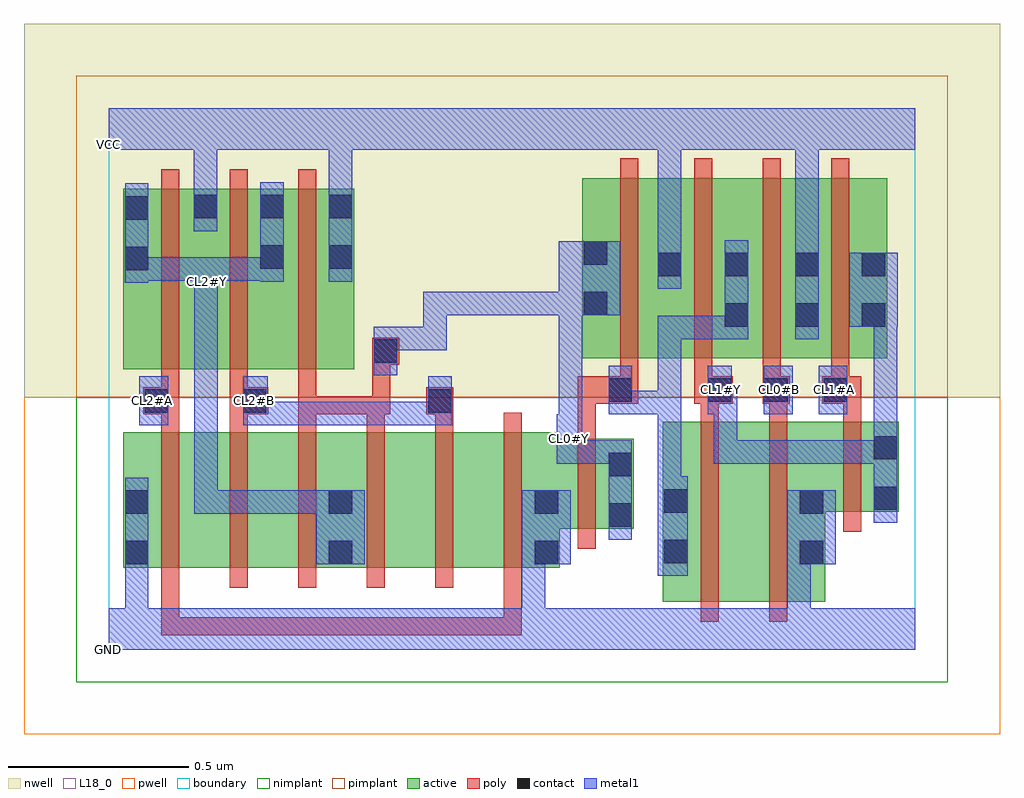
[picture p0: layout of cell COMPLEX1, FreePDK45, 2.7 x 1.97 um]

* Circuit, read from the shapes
.subckt COMPLEX1 CL0#B CL0#Y CL1#A CL1#Y CL2#A CL2#B CL2#Y GND VCC
M1 n1 CL2#A GND VSUBS nfet w=0.375u l=0.05u
M2 n2 CL2#B n1 VSUBS nfet w=0.375u l=0.05u
M3 CL2#Y CL0#Y n2 VSUBS nfet w=0.375u l=0.05u
M4 n3 CL0#Y CL2#Y VSUBS nfet w=0.375u l=0.05u
M5 n4 CL2#B n3 VSUBS nfet w=0.375u l=0.05u
M6 GND CL2#A n4 VSUBS nfet w=0.375u l=0.05u
M7 CL0#Y n5 GND VSUBS nfet w=0.25u l=0.05u
M8 n6 CL1#Y n5 VSUBS nfet w=0.5u l=0.05u
M9 GND CL0#B n6 VSUBS nfet w=0.5u l=0.05u
M10 CL1#Y CL1#A GND VSUBS nfet w=0.25u l=0.05u
M11 VCC CL2#A CL2#Y n7 pfet w=0.5u l=0.05u
M12 CL2#Y CL2#B VCC n7 pfet w=0.5u l=0.05u
M13 VCC CL0#Y CL2#Y n7 pfet w=0.5u l=0.05u
M14 VCC n5 CL0#Y n7 pfet w=0.5u l=0.05u
M15 n5 CL1#Y VCC n7 pfet w=0.5u l=0.05u
M16 VCC CL0#B n5 n7 pfet w=0.5u l=0.05u
M17 CL1#Y CL1#A VCC n7 pfet w=0.5u l=0.05u
.ends

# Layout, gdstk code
import gdstk
lib = gdstk.Library(unit=1e-6, precision=1e-09)
def R(c, l, rs):  # rectangles x0, y0, x1, y1
    for r in rs: c.add(gdstk.rectangle(r[:2], r[2:], *l))
def A(c, l, x, y, w, h, nx, ny, dx, dy):  # array of equal rectangles
    R(c, l, [(x+i*dx, y+j*dy, x+i*dx+w, y+j*dy+h) for i in range(nx) for j in range(ny)])
active = (1, 0)
pwell = (2, 0)
nwell = (3, 0)
nimplant = (4, 0)
pimplant = (5, 0)
poly = (9, 0)
contact = (10, 0)
metal1 = (11, 0)
L18_0 = (18, 0)
boundary = (235, 0)

complex1 = lib.new_cell('COMPLEX1')
R(complex1, active, [(1.535,0.132,1.76,0.632), (1.76,0.132,1.985,0.632), (1.91,0.132,1.985,0.562), (1.535,0.145,1.64,0.632), (0.04,0.227,0.265,0.602), (0.04,0.227,0.115,0.602), (0.265,0.227,0.455,0.602), (0.455,0.227,0.68,0.602), (0.605,0.227,0.835,0.602), (0.605,0.227,0.68,0.602), (0.835,0.227,1.025,0.602), (1.025,0.227,1.25,0.602), (1.175,0.232,1.25,0.585), (1.175,0.335,1.455,0.585), (1.38,0.335,1.455,0.585), (1.91,0.382,2.19,0.632), (2.115,0.382,2.19,0.632), (0.04,0.777,0.305,1.277), (0.04,0.777,0.115,1.267), (0.23,0.777,0.49,1.277), (0.415,0.777,0.68,1.277), (0.605,0.777,0.68,1.265), (1.312,0.807,1.592,1.307), (1.312,0.807,1.387,1.255), (1.517,0.807,1.777,1.307), (1.702,0.807,1.777,1.267), (1.702,0.807,1.972,1.307), (1.897,0.807,1.972,1.267), (1.897,0.807,2.157,1.307), (2.082,0.807,2.157,1.267), (0.23,0.902,0.305,1.267), (1.517,0.902,1.592,1.255), (0.415,0.907,0.49,1.277)])
R(complex1, pwell, [(-0.235,-0.235,2.47,0.7)])
R(complex1, nwell, [(-0.235,0.7,2.47,1.735)])
R(complex1, nimplant, [(-0.09,-0.09,2.325,0.7)])
R(complex1, pimplant, [(-0.09,0.7,2.325,1.59)])
A(complex1, poly, 0.145, 0.172, 0.05, 0.485, 6, 1, 0.19, 0)
A(complex1, poly, 0.145, 0.607, 0.05, 0.095, 5, 1, 0.19, 0)
A(complex1, poly, 1.622, 0.707, 0.05, 0.095, 3, 1, 0.19, 0)
A(complex1, poly, 0.145, 0.722, 0.05, 0.61, 3, 1, 0.19, 0)
A(complex1, poly, 1.622, 0.752, 0.05, 0.61, 3, 1, 0.19, 0)
R(complex1, poly, [(0.145,0.04,0.195,0.222), (0.145,0.04,0.195,0.09), (0.145,0.04,0.195,0.09), (0.145,0.04,0.195,0.09), (0.145,0.04,0.442,0.09), (0.392,0.04,0.442,0.09), (0.392,0.04,0.442,0.09), (0.392,0.04,0.442,0.09), (0.392,0.04,0.575,0.09), (0.525,0.04,0.575,0.09), (0.525,0.04,0.797,0.09), (0.747,0.04,0.797,0.09), (0.747,0.04,0.797,0.09), (0.747,0.04,0.797,0.09), (0.747,0.04,1.012,0.09), (0.962,0.04,1.012,0.09), (0.962,0.04,1.012,0.09), (0.962,0.04,1.012,0.09), (0.962,0.04,1.145,0.09), (1.095,0.04,1.145,0.222), (1.095,0.04,1.145,0.09), (1.095,0.04,1.145,0.09), (1.095,0.04,1.145,0.09), (1.64,0.077,1.69,0.687), (1.83,0.077,1.88,0.687), (1.3,0.28,1.35,0.64), (2.035,0.327,2.085,0.687), (1.3,0.59,1.35,0.732), (1.64,0.637,1.69,0.732), (1.83,0.637,1.88,0.732), (2.035,0.637,2.085,0.732), (0.095,0.652,0.195,0.727), (0.335,0.652,0.442,0.727), (0.525,0.652,0.575,0.702), (0.525,0.652,0.575,0.702), (0.525,0.652,0.575,0.702), (0.525,0.652,0.765,0.702), (0.525,0.652,0.575,0.772), (0.715,0.652,0.78,0.702), (0.73,0.652,0.78,0.702), (0.73,0.652,0.78,0.702), (0.73,0.652,0.78,0.84), (0.88,0.652,0.955,0.727), (0.145,0.677,0.195,0.772), (0.335,0.677,0.385,0.772), (1.3,0.682,1.467,0.757), (1.622,0.682,1.73,0.757), (1.812,0.682,1.887,0.757), (1.977,0.682,2.085,0.757), (1.417,0.707,1.467,0.802), (1.417,0.752,1.467,1.362), (0.73,0.79,0.805,0.865)])
R(complex1, contact, [(0.045,0.237,0.11,0.302), (0.61,0.237,0.675,0.302), (1.18,0.237,1.245,0.302), (1.915,0.237,1.98,0.302), (1.54,0.24,1.605,0.305), (1.385,0.34,1.45,0.405), (0.045,0.377,0.11,0.442), (0.61,0.377,0.675,0.442), (1.18,0.377,1.245,0.442), (1.915,0.377,1.98,0.442), (1.54,0.38,1.605,0.445), (2.12,0.387,2.185,0.452), (1.385,0.48,1.45,0.545), (2.12,0.527,2.185,0.592), (0.1,0.657,0.165,0.722), (0.372,0.657,0.437,0.722), (0.885,0.657,0.95,0.722), (1.385,0.687,1.45,0.752), (1.66,0.687,1.725,0.752), (1.817,0.687,1.882,0.752), (1.982,0.687,2.047,0.752), (0.735,0.795,0.8,0.86), (1.707,0.895,1.772,0.96), (1.902,0.895,1.967,0.96), (2.087,0.895,2.152,0.96), (1.317,0.927,1.382,0.992), (1.522,1.035,1.587,1.1), (1.707,1.035,1.772,1.1), (1.902,1.035,1.967,1.1), (2.087,1.035,2.152,1.1), (0.045,1.052,0.11,1.117), (0.42,1.055,0.485,1.12), (0.61,1.055,0.675,1.12), (1.317,1.067,1.382,1.132), (0.045,1.192,0.11,1.257), (0.235,1.195,0.3,1.26), (0.42,1.195,0.485,1.26), (0.61,1.195,0.675,1.26)])
R(complex1, metal1, [(0,0,2.235,0.115), (0.045,0.05,0.11,0.115), (0.045,0.05,0.11,0.115), (0.045,0.05,0.11,0.115), (0.045,0.05,0.11,0.115), (0.045,0.05,0.11,0.267), (1.145,0.05,1.21,0.115), (1.145,0.05,1.21,0.115), (1.145,0.05,1.21,0.302), (1.88,0.05,1.945,0.115), (1.88,0.05,1.945,0.115), (1.88,0.05,1.945,0.302), (0.045,0.202,0.11,0.477), (1.522,0.205,1.605,0.48), (0.575,0.237,0.71,0.442), (1.145,0.237,1.28,0.442), (1.145,0.237,1.21,0.302), (1.145,0.237,1.21,0.302), (1.88,0.237,2.015,0.442), (1.385,0.305,1.45,0.58), (2.12,0.352,2.185,0.627), (0.237,0.377,0.302,0.442), (0.237,0.377,0.302,0.442), (0.237,0.377,0.302,0.442), (0.237,0.377,0.44,0.442), (0.237,0.377,0.302,1.017), (0.375,0.377,0.44,0.442), (0.375,0.377,0.64,0.442), (0.575,0.377,0.64,0.442), (0.575,0.377,0.64,0.442), (1.522,0.415,1.587,0.717), (1.242,0.515,1.312,0.652), (1.247,0.515,1.312,0.58), (1.247,0.515,1.312,0.58), (1.247,0.515,1.45,0.58), (1.385,0.515,1.45,0.58), (1.385,0.515,1.45,0.58), (1.677,0.515,1.742,0.58), (1.677,0.515,1.895,0.58), (1.677,0.515,1.742,0.717), (1.83,0.515,1.895,0.58), (1.83,0.515,1.895,0.58), (1.83,0.515,1.895,0.58), (1.83,0.515,2.185,0.58), (2.12,0.515,2.185,0.58), (2.12,0.515,2.185,0.58), (2.12,0.562,2.185,0.96), (2.12,0.562,2.185,0.627), (2.12,0.562,2.185,0.627), (1.247,0.587,1.312,0.992), (0.085,0.622,0.165,0.757), (0.372,0.622,0.44,0.757), (0.375,0.622,0.44,0.687), (0.375,0.622,0.44,0.687), (0.375,0.622,0.577,0.687), (0.512,0.622,0.577,0.687), (0.512,0.622,0.577,0.687), (0.512,0.622,0.577,0.687), (0.512,0.622,0.777,0.687), (0.712,0.622,0.777,0.687), (0.712,0.622,0.777,0.687), (0.712,0.622,0.777,0.687), (0.712,0.622,0.95,0.687), (0.885,0.622,0.95,0.757), (1.385,0.652,1.45,0.717), (1.385,0.652,1.45,0.717), (1.385,0.652,1.45,0.787), (1.385,0.652,1.587,0.717), (1.522,0.652,1.587,0.717), (1.522,0.652,1.587,0.925), (1.66,0.652,1.727,0.787), (1.662,0.652,1.742,0.717), (1.677,0.652,1.742,0.717), (1.815,0.652,1.895,0.787), (1.967,0.652,2.047,0.787), (0.735,0.76,0.8,0.895), (0.735,0.83,0.8,0.895), (0.735,0.83,0.8,0.895), (0.735,0.83,0.8,0.895), (0.735,0.83,0.8,0.895), (0.735,0.83,0.937,0.895), (0.872,0.83,0.937,0.992), (1.522,0.86,1.587,0.925), (1.522,0.86,1.587,0.925), (1.522,0.86,1.587,0.925), (1.522,0.86,1.772,0.925), (1.707,0.86,1.772,1.135), (1.902,0.86,1.967,1.135), (2.052,0.895,2.187,1.1), (0.872,0.927,0.937,0.992), (0.872,0.927,0.937,0.992), (0.872,0.927,1.312,0.992), (1.247,0.927,1.312,0.992), (1.247,0.927,1.312,0.992), (1.247,0.927,1.417,1.132), (0.237,0.952,0.302,1.087), (1.522,1,1.587,1.135), (0.045,1.017,0.11,1.292), (0.42,1.02,0.485,1.295), (0.61,1.02,0.675,1.295), (0.045,1.022,0.11,1.087), (0.045,1.022,0.11,1.087), (0.045,1.022,0.302,1.087), (0.237,1.022,0.302,1.087), (0.237,1.022,0.302,1.087), (0.237,1.022,0.302,1.087), (0.237,1.022,0.302,1.087), (0.237,1.022,0.485,1.087), (1.522,1.07,1.587,1.135), (1.522,1.07,1.587,1.135), (1.522,1.07,1.587,1.45), (1.902,1.07,1.967,1.135), (1.902,1.07,1.967,1.135), (1.902,1.07,1.967,1.45), (0.235,1.16,0.3,1.295), (0.235,1.23,0.3,1.45), (0.61,1.23,0.675,1.295), (0.61,1.23,0.675,1.295), (0.61,1.23,0.675,1.45), (0,1.385,2.235,1.5), (0.235,1.385,0.3,1.45), (0.235,1.385,0.3,1.45)])
R(complex1, L18_0, [(0,0,2.235,0.115), (0.045,0.05,0.11,0.115), (0.045,0.05,0.11,0.115), (0.045,0.05,0.11,0.115), (0.045,0.05,0.11,0.115), (0.045,0.05,0.11,0.267), (1.145,0.05,1.21,0.115), (1.145,0.05,1.21,0.115), (1.145,0.05,1.21,0.302), (1.88,0.05,1.945,0.115), (1.88,0.05,1.945,0.115), (1.88,0.05,1.945,0.302), (0.045,0.202,0.11,0.477), (0.575,0.237,0.71,0.442), (1.145,0.237,1.21,0.302), (1.145,0.237,1.21,0.302), (1.145,0.237,1.28,0.442), (1.88,0.237,2.015,0.442), (1.385,0.305,1.45,0.58), (2.12,0.352,2.185,0.627), (0.237,0.377,0.302,0.442), (0.237,0.377,0.302,0.442), (0.237,0.377,0.302,0.442), (0.237,0.377,0.302,1.017), (0.237,0.377,0.44,0.442), (0.375,0.377,0.44,0.442), (0.375,0.377,0.64,0.442), (0.575,0.377,0.64,0.442), (0.575,0.377,0.64,0.442), (1.242,0.515,1.312,0.652), (1.247,0.515,1.312,0.58), (1.247,0.515,1.312,0.58), (1.247,0.515,1.45,0.58), (1.385,0.515,1.45,0.58), (1.385,0.515,1.45,0.58), (1.677,0.515,1.742,0.58), (1.677,0.515,1.742,0.717), (1.677,0.515,1.895,0.58), (1.83,0.515,1.895,0.58), (1.83,0.515,1.895,0.58), (1.83,0.515,1.895,0.58), (1.83,0.515,2.185,0.58), (2.12,0.515,2.185,0.58), (2.12,0.515,2.185,0.58), (1.242,0.552,1.307,0.617), (2.12,0.562,2.185,0.627), (2.12,0.562,2.185,0.627), (2.12,0.562,2.185,0.96), (1.247,0.587,1.312,0.992), (0.085,0.622,0.165,0.757), (0.372,0.622,0.44,0.757), (0.375,0.622,0.44,0.687), (0.375,0.622,0.44,0.687), (0.375,0.622,0.577,0.687), (0.512,0.622,0.577,0.687), (0.512,0.622,0.577,0.687), (0.512,0.622,0.577,0.687), (0.512,0.622,0.777,0.687), (0.712,0.622,0.777,0.687), (0.712,0.622,0.777,0.687), (0.712,0.622,0.777,0.687), (0.712,0.622,0.95,0.687), (0.885,0.622,0.95,0.757), (1.66,0.652,1.727,0.787), (1.662,0.652,1.742,0.717), (1.677,0.652,1.742,0.717), (1.815,0.652,1.895,0.787), (1.967,0.652,2.047,0.787), (0.087,0.657,0.152,0.722), (0.372,0.657,0.437,0.722), (1.662,0.687,1.727,0.752), (1.827,0.687,1.892,0.752), (1.977,0.687,2.042,0.752), (0.735,0.76,0.8,0.895), (0.735,0.83,0.8,0.895), (0.735,0.83,0.8,0.895), (0.735,0.83,0.8,0.895), (0.735,0.83,0.8,0.895), (0.735,0.83,0.937,0.895), (0.872,0.83,0.937,0.992), (1.902,0.86,1.967,1.135), (2.052,0.895,2.187,1.1), (0.872,0.927,0.937,0.992), (0.872,0.927,0.937,0.992), (0.872,0.927,1.312,0.992), (1.247,0.927,1.312,0.992), (1.247,0.927,1.312,0.992), (1.247,0.927,1.417,1.132), (0.237,0.952,0.302,1.087), (0.237,0.987,0.302,1.052), (1.522,1,1.587,1.135), (0.045,1.017,0.11,1.292), (0.42,1.02,0.485,1.295), (0.61,1.02,0.675,1.295), (0.045,1.022,0.11,1.087), (0.045,1.022,0.11,1.087), (0.045,1.022,0.302,1.087), (0.237,1.022,0.302,1.087), (0.237,1.022,0.302,1.087), (0.237,1.022,0.302,1.087), (0.237,1.022,0.302,1.087), (0.237,1.022,0.485,1.087), (1.522,1.07,1.587,1.135), (1.522,1.07,1.587,1.135), (1.522,1.07,1.587,1.45), (1.902,1.07,1.967,1.135), (1.902,1.07,1.967,1.135), (1.902,1.07,1.967,1.45), (0.235,1.16,0.3,1.295), (0.235,1.23,0.3,1.45), (0.61,1.23,0.675,1.295), (0.61,1.23,0.675,1.295), (0.61,1.23,0.675,1.45), (0,1.385,2.235,1.5), (0.235,1.385,0.3,1.45), (0.235,1.385,0.3,1.45)])
R(complex1, boundary, [(0,0,2.235,1.5)])
complex1.add(gdstk.Label('CL0#B', (1.86,0.72), layer=11, texttype=0))
complex1.add(gdstk.Label('CL0#Y', (1.275,0.585), layer=11, texttype=0))
complex1.add(gdstk.Label('CL1#A', (2.01,0.72), layer=11, texttype=0))
complex1.add(gdstk.Label('CL1#Y', (1.695,0.72), layer=11, texttype=0))
complex1.add(gdstk.Label('CL2#A', (0.12,0.69), layer=11, texttype=0))
complex1.add(gdstk.Label('CL2#B', (0.405,0.69), layer=11, texttype=0))
complex1.add(gdstk.Label('CL2#Y', (0.27,1.02), layer=11, texttype=0))
complex1.add(gdstk.Label('VCC', (0,1.4), layer=11, texttype=0))
complex1.add(gdstk.Label('GND', (0,0), layer=11, texttype=0))

lib.write_gds('COMPLEX1.gds')
